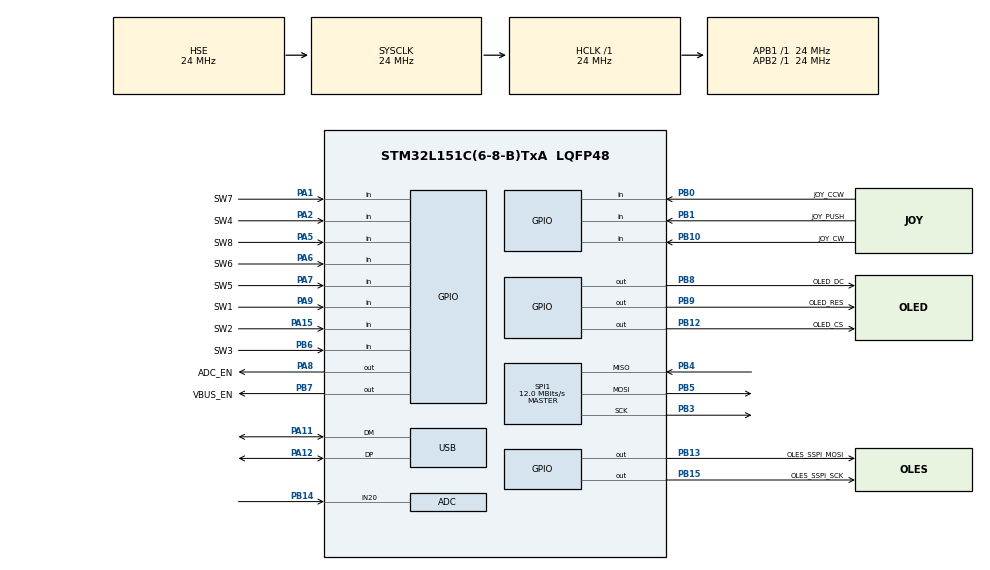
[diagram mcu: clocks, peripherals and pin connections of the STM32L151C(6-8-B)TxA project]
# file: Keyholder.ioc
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ADC.Channel-0\#ChannelRegularConversion=ADC_CHANNEL_20
ADC.NbrOfConversionFlag=1
ADC.Rank-0\#ChannelRegularConversion=1
ADC.SamplingTime-0\#ChannelRegularConversion=ADC_SAMPLETIME_4CYCLES
Mcu.Family=STM32L1
Mcu.Name=STM32L151C(6-8-B)TxA
Mcu.Package=LQFP48
NVIC.PriorityGroup=NVIC_PRIORITYGROUP_4
NVIC.TIM6_IRQn=true\:0\:0\:false\:false\:true\:true\:true\:true
NVIC.TIM7_IRQn=true\:0\:0\:false\:false\:true\:true\:true\:true
NVIC.USB_LP_IRQn=true\:0\:0\:false\:false\:true\:false\:true\:true
PA1.GPIO_Label=SW7
PA1.GPIO_PuPd=GPIO_PULLUP
PA1.Signal=GPIO_Input
PA11.Mode=Device
PA11.Signal=USB_DM
PA12.Mode=Device
PA12.Signal=USB_DP
PA13.Mode=Serial_Wire
PA13.Signal=SYS_JTMS-SWDIO
PA14.Mode=Serial_Wire
PA14.Signal=SYS_JTCK-SWCLK
PA15.GPIO_Label=SW2
PA15.GPIO_PuPd=GPIO_PULLUP
PA15.Signal=GPIO_Input
PA2.GPIO_Label=SW4
PA2.GPIO_PuPd=GPIO_PULLUP
PA2.Signal=GPIO_Input
PA5.GPIO_Label=SW8
PA5.GPIO_PuPd=GPIO_PULLUP
PA5.Signal=GPIO_Input
PA6.GPIO_Label=SW6
PA6.GPIO_PuPd=GPIO_PULLUP
PA6.Signal=GPIO_Input
PA7.GPIO_Label=SW5
PA7.GPIO_PuPd=GPIO_PULLUP
PA7.Signal=GPIO_Input
PA8.GPIO_Label=ADC_EN
PA8.Signal=GPIO_Output
PA9.GPIO_Label=SW1
PA9.GPIO_PuPd=GPIO_PULLUP
PA9.Signal=GPIO_Input
PB0.GPIO_Label=JOY_CCW
PB0.GPIO_PuPd=GPIO_PULLUP
PB0.Signal=GPIO_Input
PB1.GPIO_Label=JOY_PUSH
PB1.GPIO_PuPd=GPIO_PULLUP
PB1.Signal=GPIO_Input
PB10.GPIO_Label=JOY_CW
PB10.GPIO_PuPd=GPIO_PULLUP
PB10.Signal=GPIO_Input
PB12.GPIO_Label=OLED_CS
PB12.Signal=GPIO_Output
PB13.GPIO_Label=OLES_SSPI_MOSI
PB13.Signal=GPIO_Output
PB14.Mode=IN20
PB14.Signal=ADC_IN20
PB15.GPIO_Label=OLES_SSPI_SCK
PB15.Signal=GPIO_Output
PB3.Mode=Full_Duplex_Master
PB3.Signal=SPI1_SCK
PB4.Mode=Full_Duplex_Master
PB4.Signal=SPI1_MISO
PB5.Mode=Full_Duplex_Master
PB5.Signal=SPI1_MOSI
PB6.GPIO_Label=SW3
PB6.GPIO_PuPd=GPIO_PULLUP
PB6.Signal=GPIO_Input
PB7.GPIO_Label=VBUS_EN
PB7.Signal=GPIO_Output
PB8.GPIO_Label=OLED_DC
PB8.Signal=GPIO_Output
PB9.GPIO_Label=OLED_RES
PB9.Signal=GPIO_Output
PC14-OSC32_IN.Mode=LSE-External-Oscillator
PC14-OSC32_IN.Signal=RCC_OSC32_IN
PC15-OSC32_OUT.Mode=LSE-External-Oscillator
PC15-OSC32_OUT.Signal=RCC_OSC32_OUT
PH0-OSC_IN.Mode=HSE-External-Oscillator
PH0-OSC_IN.Signal=RCC_OSC_IN
PH1-OSC_OUT.Mode=HSE-External-Oscillator
PH1-OSC_OUT.Signal=RCC_OSC_OUT
ProjectManager.HeapSize=0x200
ProjectManager.StackSize=0x400
ProjectManager.TargetToolchain=MDK-ARM V5.32
RCC.48MHZClocksFreq_Value=48000000
RCC.AHBFreq_Value=24000000
RCC.APB1Freq_Value=24000000
RCC.APB1TimFreq_Value=24000000
RCC.APB2Freq_Value=24000000
RCC.APB2TimFreq_Value=24000000
RCC.HCLKFreq_Value=24000000
RCC.HSE_VALUE=24000000
RCC.HSI_VALUE=16000000
RCC.MSI_VALUE=2097000
RCC.PLLDIV=RCC_PLL_DIV3
RCC.PLLMUL=RCC_PLL_MUL4
RCC.SYSCLKFreq_VALUE=24000000
RCC.SYSCLKSource=RCC_SYSCLKSOURCE_HSE
RCC.VCOOutputFreq_Value=96000000
SPI1.CalculateBaudRate=12.0 MBits/s
SPI1.Direction=SPI_DIRECTION_2LINES
SPI1.Mode=SPI_MODE_MASTER
SPI1.VirtualType=VM_MASTER
TIM6.Period=9999
TIM6.Prescaler=23
TIM7.Period=8000
TIM7.Prescaler=10000
TIM7.TIM_MasterOutputTrigger=TIM_TRGO_RESET
USB.low_power_enable=DISABLE
USB.lpm_enable=ENABLE
USB_DEVICE.CLASS_NAME_FS=CDC
USB_DEVICE.MANUFACTURER_STRING=NoName
USB_DEVICE.PRODUCT_STRING_CDC_FS=USB_KEYHOLDER
USB_DEVICE.USBD_SELF_POWERED=0
USB_DEVICE.VirtualMode=Cdc
USB_DEVICE.VirtualModeFS=Cdc_FS
VP_RTC_VS_RTC_Activate.Mode=RTC_Enabled
VP_TIM6_VS_ClockSourceINT.Mode=Enable_Timer
VP_TIM7_VS_ClockSourceINT.Mode=Enable_Timer
VP_TIM7_VS_OPM.Mode=OPM_bit
VP_USB_DEVICE_VS_USB_DEVICE_CDC_FS.Mode=CDC_FS
board=custom

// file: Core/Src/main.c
/* USER CODE BEGIN Header */
/**
  ******************************************************************************
  * @file           : main.c
  * @brief          : Main program body
  ******************************************************************************
  * @attention
  *
  * Copyright (c) 2022 STMicroelectronics.
  * All rights reserved.
  *
  * This software is licensed under terms that can be found in the LICENSE file
  * in the root directory of this software component.
  * If no LICENSE file comes with this software, it is provided AS-IS.
  *
  ******************************************************************************
  */
/* USER CODE END Header */
#include "main.h"
#include "adc.h"
#include "rtc.h"
#include "spi.h"
#include "tim.h"
#include "usb_device.h"
#include "gpio.h"

/* USER CODE BEGIN Includes */
//#include "usbd_cdc_if.h"
#include "ssd1306.h"
#include "ssd1306_tests.h"
#include "crypto.h"
#include "user_interface.h"
#include "system.h"
#include "usbd_hid.h"
#include "usb.h"

#include "usbd_core.h"
#include "usbd_desc.h"

/* USER CODE END Includes */

/* USER CODE BEGIN PV */

int switches_byte = 0;
int test_value = 0;
int tPass = 0;

extern USBD_HandleTypeDef hUsbDeviceFS;

/* USER CODE END PV */

void SystemClock_Config(void);
/* USER CODE BEGIN PFP */
void SystemClock_Slow_Config(void);
/* USER CODE END PFP */

int main(void)
{

  /* MCU Configuration--------------------------------------------------------*/

  /* Reset of all peripherals, Initializes the Flash interface and the Systick. */
  HAL_Init();

  /* USER CODE BEGIN Init */

	//GPIO_PinRemapConfig(GPIO_Remap_I2C1,ENABLE);
  /* USER CODE END Init */

  /* Configure the system clock */
  SystemClock_Config();

  /* USER CODE BEGIN SysInit */
	GPIOA->MODER = 0xFFFFFFFF;
	GPIOB->MODER = 0xFFFFFFFF;
	GPIOC->MODER = 0xFFFFFFFF;
  /* USER CODE END SysInit */

  /* Initialize all configured peripherals */
  MX_GPIO_Init();
  MX_USB_DEVICE_Init();
  MX_TIM6_Init();
  MX_TIM7_Init();
  MX_SPI1_Init();
  MX_ADC_Init();
  MX_RTC_Init();
  /* USER CODE BEGIN 2 */

	if (USBD_Init(&hUsbDeviceFS, &FS_Desc, DEVICE_FS) != USBD_OK)
  {
    Error_Handler();
	}

	ssd1306_SetDisplayPower(1);

	HAL_TIM_Base_Start_IT(&htim6);
	//HAL_TIM_Base_Start_IT(&htim7);
	//fill_database();
  /* USER CODE END 2 */

  /* Infinite loop */
  /* USER CODE BEGIN WHILE */

	/*while(1){
		USB_set_mode(USB_CDC_MODE);
		USB_main();
		for(int i = 0; i < 50; i++){
			CDC_Transmit_FS((uint8_t*)"OK!\n", 4);
			HAL_Delay(100);
		}
		USB_set_mode(USB_HID_MODE);
		USB_main();
		HAL_Delay(5000);
	}*/

  while (1)
  {
		//USB_set_mode(USB_CDC_MODE);
		if(ssd1306_GetNeedInitFlag())
			ssd1306_SetDisplayPower(1);
		if(power_GetNeedSleepFlag()){
			// Going to sleep
			ssd1306_SetDisplayOn(0);
			currentTab = 0xFF;
			if(!USB_get_state()){
				SystemClock_Slow_Config();
				HAL_SuspendTick();
				power_GoToSleep();
				HAL_PWR_EnterSTOPMode(PWR_LOWPOWERREGULATOR_ON, PWR_STOPENTRY_WFI);

				// Wakeup from sleep
				//MX_GPIO_Init();
				//MX_I2C1_Init();
				SystemClock_Config();
				HAL_ResumeTick();
			}
			HAL_Delay(500);
		}

		UI_print_menu();
		USB_main();

		//HAL_Delay(10000);
		//USB_set_mode(USB_CDC_MODE);
		//
		//HAL_Delay(10000);
		//USB_set_mode(USB_HID_MODE);
		//USB_main();
		//if(get_USB_write_flag()){
		//	wait_USB_insert_hotkey();
		//}
    /* USER CODE END WHILE */

  }
}

void SystemClock_Config(void)
{
  RCC_OscInitTypeDef RCC_OscInitStruct = {0};
  RCC_ClkInitTypeDef RCC_ClkInitStruct = {0};
  RCC_PeriphCLKInitTypeDef PeriphClkInit = {0};

  /** Configure the main internal regulator output voltage
  */
  __HAL_PWR_VOLTAGESCALING_CONFIG(PWR_REGULATOR_VOLTAGE_SCALE1);

  /** Initializes the RCC Oscillators according to the specified parameters
  * in the RCC_OscInitTypeDef structure.
  */
  RCC_OscInitStruct.OscillatorType = RCC_OSCILLATORTYPE_HSI|RCC_OSCILLATORTYPE_LSI
                              |RCC_OSCILLATORTYPE_HSE;
  RCC_OscInitStruct.HSEState = RCC_HSE_ON;
  RCC_OscInitStruct.HSIState = RCC_HSI_ON;
  RCC_OscInitStruct.HSICalibrationValue = RCC_HSICALIBRATION_DEFAULT;
  RCC_OscInitStruct.LSIState = RCC_LSI_ON;
  RCC_OscInitStruct.PLL.PLLState = RCC_PLL_ON;
  RCC_OscInitStruct.PLL.PLLSource = RCC_PLLSOURCE_HSE;
  RCC_OscInitStruct.PLL.PLLMUL = RCC_PLL_MUL4;
  RCC_OscInitStruct.PLL.PLLDIV = RCC_PLL_DIV3;
  if (HAL_RCC_OscConfig(&RCC_OscInitStruct) != HAL_OK)
  {
    Error_Handler();
  }

  /** Initializes the CPU, AHB and APB buses clocks
  */
  RCC_ClkInitStruct.ClockType = RCC_CLOCKTYPE_HCLK|RCC_CLOCKTYPE_SYSCLK
                              |RCC_CLOCKTYPE_PCLK1|RCC_CLOCKTYPE_PCLK2;
  RCC_ClkInitStruct.SYSCLKSource = RCC_SYSCLKSOURCE_HSE;
  RCC_ClkInitStruct.AHBCLKDivider = RCC_SYSCLK_DIV1;
  RCC_ClkInitStruct.APB1CLKDivider = RCC_HCLK_DIV1;
  RCC_ClkInitStruct.APB2CLKDivider = RCC_HCLK_DIV1;

  if (HAL_RCC_ClockConfig(&RCC_ClkInitStruct, FLASH_LATENCY_1) != HAL_OK)
  {
    Error_Handler();
  }
  PeriphClkInit.PeriphClockSelection = RCC_PERIPHCLK_RTC;
  PeriphClkInit.RTCClockSelection = RCC_RTCCLKSOURCE_LSI;
  if (HAL_RCCEx_PeriphCLKConfig(&PeriphClkInit) != HAL_OK)
  {
    Error_Handler();
  }
}

/* USER CODE BEGIN 4 */
void SystemClock_Slow_Config(void)
{
  RCC_OscInitTypeDef RCC_OscInitStruct = {0};
  RCC_ClkInitTypeDef RCC_ClkInitStruct = {0};

  /** Configure the main internal regulator output voltage
  */
  __HAL_PWR_VOLTAGESCALING_CONFIG(PWR_REGULATOR_VOLTAGE_SCALE3);

  /** Initializes the RCC Oscillators according to the specified parameters
  * in the RCC_OscInitTypeDef structure.
  */
	RCC_OscInitStruct.OscillatorType = RCC_OSCILLATORTYPE_HSI;
	RCC_OscInitStruct.MSIState = RCC_MSI_ON;
	RCC_OscInitStruct.HSEState = RCC_HSE_OFF;
  RCC_OscInitStruct.HSIState = RCC_HSI_ON;
	RCC_OscInitStruct.MSIClockRange = RCC_MSIRANGE_0;
	RCC_OscInitStruct.HSICalibrationValue = RCC_HSICALIBRATION_DEFAULT;
	RCC_OscInitStruct.MSICalibrationValue = RCC_MSICALIBRATION_DEFAULT;
	RCC_OscInitStruct.PLL.PLLState = RCC_PLL_OFF;
	if (HAL_RCC_OscConfig(&RCC_OscInitStruct) != HAL_OK)
  {
    Error_Handler();
  }

  /** Initializes the CPU, AHB and APB buses clocks
  */
  RCC_ClkInitStruct.ClockType = RCC_CLOCKTYPE_HCLK|RCC_CLOCKTYPE_SYSCLK
                              |RCC_CLOCKTYPE_PCLK1|RCC_CLOCKTYPE_PCLK2;
  RCC_ClkInitStruct.SYSCLKSource = RCC_SYSCLKSOURCE_HSI;
  RCC_ClkInitStruct.AHBCLKDivider = RCC_SYSCLK_DIV1;
  RCC_ClkInitStruct.APB1CLKDivider = RCC_HCLK_DIV1;
  RCC_ClkInitStruct.APB2CLKDivider = RCC_HCLK_DIV1;

  if (HAL_RCC_ClockConfig(&RCC_ClkInitStruct, FLASH_LATENCY_0) != HAL_OK)
  {
    Error_Handler();
  }
}

/* USER CODE END 4 */

void Error_Handler(void)
{
  __disable_irq();
  while (1)
  {
  }
}
